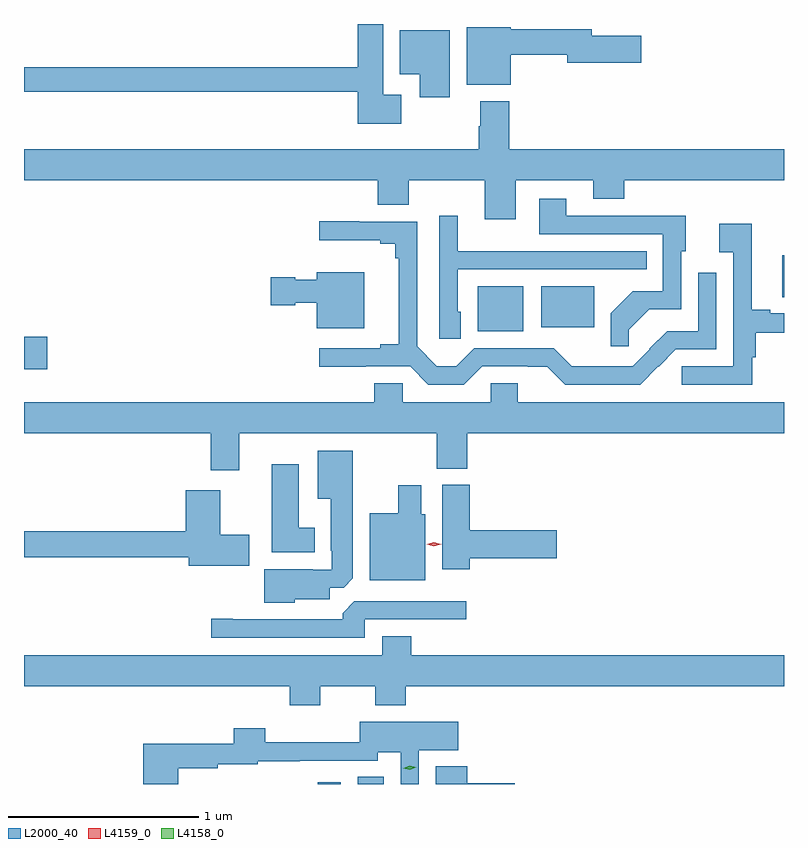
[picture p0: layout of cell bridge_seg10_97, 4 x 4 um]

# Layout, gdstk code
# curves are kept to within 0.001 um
import gdstk
lib = gdstk.Library(unit=1e-6, precision=1e-09)
def R(c, l, rs):  # rectangles x0, y0, x1, y1
    for r in rs: c.add(gdstk.rectangle(r[:2], r[2:], *l))
def P(c, l, *ps):  # polygons
    for p in ps: c.add(gdstk.Polygon(p, *l))
L2000_40 = (2000, 40)
L4158_0 = (4158, 0)
L4159_0 = (4159, 0)

bridge_seg10_97 = lib.new_cell('bridge_seg10_97')
R(bridge_seg10_97, L2000_40, [(508.796,1301.134,508.918,1301.143), (509.006,1301.134,509.143,1301.171), (507.25,1303.316,507.373,1303.487), (509.639,1303.517,509.878,1303.753), (509.972,1303.538,510.25,1303.753), (511.241,1303.696,511.25,1303.917)])
P(bridge_seg10_97, L2000_40, [(509.236,1304.761),(509.14,1304.761),(509.14,1305.134),(509.006,1305.134),(509.006,1304.906),(507.25,1304.906),(507.25,1304.778),(509.006,1304.778),(509.006,1304.609),(509.236,1304.609)],
  [(509.812,1304.971),(510.11,1304.971),(510.11,1304.929),(510.499,1304.929),(510.499,1305.071),(510.238,1305.071),(510.238,1305.107),(509.812,1305.107),(509.812,1305.118),(509.579,1305.118),(509.579,1304.813),(509.812,1304.813)],
  [(509.491,1305.1),(509.228,1305.1),(509.228,1304.87),(509.333,1304.87),(509.333,1304.748),(509.491,1304.748)],
  [(509.839,1304.312),(510.245,1304.312),(510.245,1304.213),(510.409,1304.213),(510.409,1304.312),(511.25,1304.312),(511.25,1304.476),(509.804,1304.476),(509.804,1304.728),(509.651,1304.728),(509.651,1304.597),(509.644,1304.597),(509.644,1304.476),(507.25,1304.476),(507.25,1304.312),(509.111,1304.312),(509.111,1304.184),(509.275,1304.184),(509.275,1304.312),(509.675,1304.312),(509.675,1304.106),(509.839,1304.106)],
  [(510.434,1303.524),(510.542,1303.632),(510.708,1303.632),(510.708,1303.938),(510.733,1303.938),(510.733,1304.126),(510.515,1304.126),(510.515,1304.124),(510.103,1304.124),(510.103,1304.215),(509.963,1304.215),(509.963,1304.028),(510.612,1304.028),(510.612,1303.728),(510.455,1303.728),(510.339,1303.612),(510.339,1303.437),(510.434,1303.437)],
  [(509.548,1303.62),(509.532,1303.62),(509.532,1303.842),(510.527,1303.842),(510.527,1303.938),(509.867,1303.938),(509.867,1303.939),(509.533,1303.939),(509.533,1304.125),(509.436,1304.125),(509.436,1303.477),(509.548,1303.477)],
  [(509.661,1303.332),(510.005,1303.331),(510.099,1303.236),(510.493,1303.236),(510.681,1303.422),(510.894,1303.422),(510.894,1303.825),(510.798,1303.825),(510.798,1303.518),(510.635,1303.518),(510.541,1303.424),(510.543,1303.422),(510.453,1303.332),(510.238,1303.332),(510.238,1303.334),(510.134,1303.334),(510.039,1303.428),(509.619,1303.428),(509.524,1303.333),(509.423,1303.333),(509.319,1303.437),(509.319,1304.094),(509.015,1304.094),(509.015,1304.096),(508.803,1304.096),(508.803,1303.997),(509.126,1303.997),(509.126,1303.978),(509.203,1303.978),(509.203,1303.901),(509.222,1303.901),(509.222,1303.448),(509.126,1303.448),(509.126,1303.428),(508.803,1303.428),(508.803,1303.331),(509.282,1303.332),(509.378,1303.236),(509.565,1303.236)],
  [(511.082,1303.379),(511.1,1303.379),(511.1,1303.51),(511.25,1303.51),(511.25,1303.611),(511.177,1303.611),(511.177,1303.631),(511.081,1303.631),(511.081,1304.083),(510.909,1304.083),(510.909,1303.934),(510.984,1303.934),(510.984,1303.332),(510.711,1303.332),(510.711,1303.236),(511.082,1303.236)],
  [(509.041,1303.828),(508.79,1303.828),(508.79,1303.789),(508.677,1303.789),(508.677,1303.802),(508.548,1303.802),(508.548,1303.655),(508.677,1303.655),(508.677,1303.667),(508.79,1303.667),(508.79,1303.532),(509.041,1303.532)],
  [(508.384,1302.98),(509.422,1302.98),(509.422,1302.793),(509.582,1302.793),(509.582,1302.98),(511.25,1302.98),(511.25,1303.144),(509.848,1303.144),(509.848,1303.242),(509.706,1303.242),(509.706,1303.144),(509.244,1303.144),(509.244,1303.242),(509.093,1303.242),(509.093,1303.144),(507.25,1303.144),(507.25,1302.98),(508.232,1302.98),(508.232,1302.786),(508.384,1302.786)],
  [(508.674,1302.107),(508.858,1302.107),(508.858,1302.168),(508.932,1302.168),(508.981,1302.217),(508.981,1302.889),(508.796,1302.889),(508.796,1302.635),(508.865,1302.635),(508.865,1302.361),(508.869,1302.361),(508.869,1302.261),(508.769,1302.261),(508.769,1302.265),(508.514,1302.265),(508.514,1302.089),(508.674,1302.089)],
  [(508.78,1302.484),(508.696,1302.484),(508.696,1302.817),(508.553,1302.817),(508.553,1302.353),(508.78,1302.353)],
  [(509.597,1302.323),(510.055,1302.323),(510.055,1302.47),(509.597,1302.47),(509.597,1302.708),(509.45,1302.708),(509.45,1302.264),(509.597,1302.264)],
  [(509.362,1302.555),(509.341,1302.555),(509.341,1302.706),(509.219,1302.706),(509.219,1302.559),(509.069,1302.559),(509.069,1302.206),(509.362,1302.206)],
  [(508.435,1302.447),(508.282,1302.447),(508.282,1302.679),(508.1,1302.679),(508.1,1302.464),(507.25,1302.464),(507.25,1302.328),(508.116,1302.328),(508.116,1302.284),(508.435,1302.284)],
  [(509.043,1302),(509.578,1302),(509.578,1302.096),(508.989,1302.096),(508.928,1302.034),(508.928,1302),(508.348,1302),(508.348,1302.005),(508.236,1302.005),(508.236,1301.904),(509.043,1301.904)],
  [(508.809,1301.648),(509.098,1301.648),(509.098,1301.549),(509.258,1301.549),(509.258,1301.648),(511.25,1301.648),(511.25,1301.812),(509.288,1301.812),(509.288,1301.911),(509.135,1301.911),(509.135,1301.812),(507.25,1301.812),(507.25,1301.648),(508.649,1301.648),(508.649,1301.549),(508.809,1301.549)],
  [(508.061,1301.218),(508.271,1301.218),(508.271,1301.237),(508.479,1301.237),(508.479,1301.255),(508.7,1301.255),(508.7,1301.256),(509.112,1301.256),(509.112,1301.3),(509.232,1301.3),(509.232,1301.134),(509.328,1301.134),(509.328,1301.312),(509.536,1301.312),(509.536,1301.461),(509.016,1301.461),(509.016,1301.354),(508.52,1301.354),(508.52,1301.428),(508.355,1301.428),(508.355,1301.347),(507.878,1301.347),(507.878,1301.134),(508.061,1301.134)],
  [(509.833,1301.138),(509.584,1301.138),(509.584,1301.227),(509.417,1301.227),(509.417,1301.134),(509.833,1301.134)])
P(bridge_seg10_97, L4158_0, [(509.28,1301.21),(509.245,1301.218),(509.245,1301.218),(509.245,1301.218),(509.279,1301.23),(509.314,1301.221),(509.314,1301.221),(509.314,1301.221)])
P(bridge_seg10_97, L4159_0, [(509.407,1302.386),(509.369,1302.396),(509.369,1302.396),(509.369,1302.396),(509.407,1302.406),(509.445,1302.396),(509.445,1302.396),(509.445,1302.396)])

lib.write_gds('bridge_seg10_97.gds')
